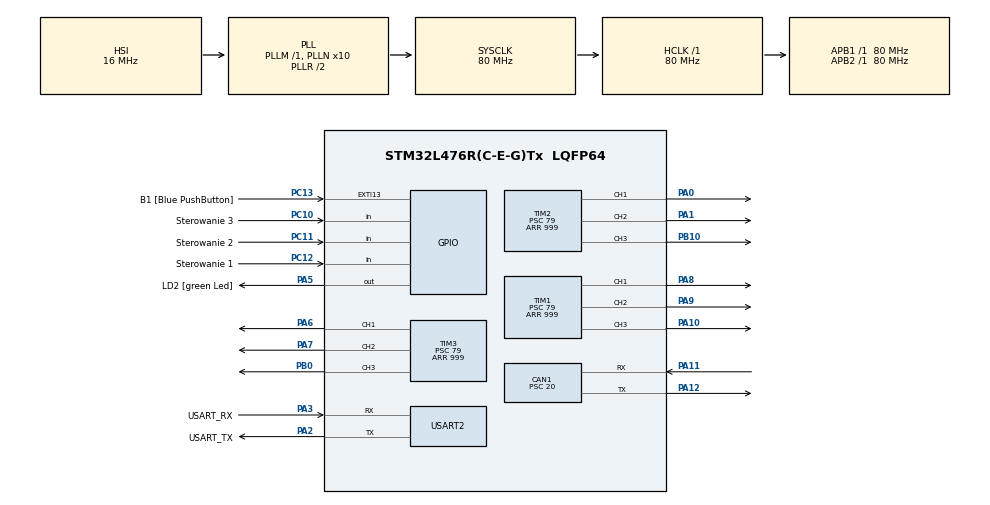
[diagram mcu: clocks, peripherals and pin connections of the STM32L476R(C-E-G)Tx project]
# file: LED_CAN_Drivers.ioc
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CAN1.BS1=CAN_BS1_13TQ
CAN1.BS2=CAN_BS2_2TQ
CAN1.CalculateTimeQuantum=250.0
CAN1.Prescaler=20
Mcu.Family=STM32L4
Mcu.Name=STM32L476R(C-E-G)Tx
Mcu.Package=LQFP64
NVIC.CAN1_RX0_IRQn=true\:0\:0\:false\:false\:true\:true\:true
NVIC.CAN1_TX_IRQn=true\:0\:0\:false\:false\:true\:true\:true
NVIC.PriorityGroup=NVIC_PRIORITYGROUP_4
PA0.Signal=S_TIM2_CH1
PA1.Signal=S_TIM2_CH2
PA10.Signal=S_TIM1_CH3
PA11.Mode=Master
PA11.Signal=CAN1_RX
PA12.Mode=Master
PA12.Signal=CAN1_TX
PA13\ (JTMS-SWDIO).GPIO_Label=TMS
PA13\ (JTMS-SWDIO).Mode=Serial_Wire
PA13\ (JTMS-SWDIO).Signal=SYS_JTMS-SWDIO
PA14\ (JTCK-SWCLK).GPIO_Label=TCK
PA14\ (JTCK-SWCLK).Mode=Serial_Wire
PA14\ (JTCK-SWCLK).Signal=SYS_JTCK-SWCLK
PA2.GPIO_Label=USART_TX
PA2.GPIO_Mode=GPIO_MODE_AF_PP
PA2.GPIO_PuPd=GPIO_NOPULL
PA2.GPIO_Speed=GPIO_SPEED_FREQ_VERY_HIGH
PA2.Mode=Asynchronous
PA2.Signal=USART2_TX
PA3.GPIO_Label=USART_RX
PA3.GPIO_Mode=GPIO_MODE_AF_PP
PA3.GPIO_PuPd=GPIO_NOPULL
PA3.GPIO_Speed=GPIO_SPEED_FREQ_VERY_HIGH
PA3.Mode=Asynchronous
PA3.Signal=USART2_RX
PA5.GPIO_Label=LD2 [green Led]
PA5.GPIO_ModeDefaultOutputPP=GPIO_MODE_OUTPUT_PP
PA5.GPIO_PuPd=GPIO_NOPULL
PA5.GPIO_Speed=GPIO_SPEED_FREQ_LOW
PA5.Signal=GPIO_Output
PA6.Signal=S_TIM3_CH1
PA7.Signal=S_TIM3_CH2
PA8.Signal=S_TIM1_CH1
PA9.Signal=S_TIM1_CH2
PB0.Signal=S_TIM3_CH3
PB10.Signal=S_TIM2_CH3
PB3\ (JTDO-TRACESWO).GPIO_Label=SWO
PB3\ (JTDO-TRACESWO).Signal=SYS_JTDO-SWO
PC10.GPIO_Label=Sterowanie 3
PC10.Signal=GPIO_Input
PC11.GPIO_Label=Sterowanie 2
PC11.Signal=GPIO_Input
PC12.GPIO_Label=Sterowanie 1
PC12.Signal=GPIO_Input
PC13.GPIO_Label=B1 [Blue PushButton]
PC13.GPIO_ModeDefaultEXTI=GPIO_MODE_IT_FALLING
PC13.GPIO_PuPd=GPIO_NOPULL
PC13.Signal=GPXTI13
PC14-OSC32_IN\ (PC14).Mode=LSE-External-Oscillator
PC14-OSC32_IN\ (PC14).Signal=RCC_OSC32_IN
PC15-OSC32_OUT\ (PC15).Mode=LSE-External-Oscillator
PC15-OSC32_OUT\ (PC15).Signal=RCC_OSC32_OUT
PH0-OSC_IN\ (PH0).Signal=RCC_OSC_IN
PH1-OSC_OUT\ (PH1).Signal=RCC_OSC_OUT
ProjectManager.HeapSize=0x200
ProjectManager.StackSize=0x400
ProjectManager.TargetToolchain=STM32CubeIDE
RCC.ADCFreq_Value=64000000
RCC.AHBFreq_Value=80000000
RCC.APB1Freq_Value=80000000
RCC.APB1TimFreq_Value=80000000
RCC.APB2Freq_Value=80000000
RCC.APB2TimFreq_Value=80000000
RCC.CortexFreq_Value=80000000
RCC.HCLKFreq_Value=80000000
RCC.HSE_VALUE=8000000
RCC.HSI_VALUE=16000000
RCC.MSI_VALUE=4000000
RCC.PLLN=10
RCC.PLLSourceVirtual=RCC_PLLSOURCE_HSI
RCC.PREFETCH_ENABLE=1
RCC.SYSCLKFreq_VALUE=80000000
RCC.SYSCLKSource=RCC_SYSCLKSOURCE_PLLCLK
RCC.USBFreq_Value=64000000
RCC.VCOOutputFreq_Value=160000000
SH.S_TIM1_CH1.0=TIM1_CH1,PWM Generation1 CH1
SH.S_TIM1_CH2.0=TIM1_CH2,PWM Generation2 CH2
SH.S_TIM1_CH3.0=TIM1_CH3,PWM Generation3 CH3
SH.S_TIM2_CH1.0=TIM2_CH1,PWM Generation1 CH1
SH.S_TIM2_CH2.0=TIM2_CH2,PWM Generation2 CH2
SH.S_TIM2_CH3.0=TIM2_CH3,PWM Generation3 CH3
SH.S_TIM3_CH1.0=TIM3_CH1,PWM Generation1 CH1
SH.S_TIM3_CH2.0=TIM3_CH2,PWM Generation2 CH2
SH.S_TIM3_CH3.0=TIM3_CH3,PWM Generation3 CH3
TIM1.AutoReloadPreload=TIM_AUTORELOAD_PRELOAD_ENABLE
TIM1.Channel-PWM\ Generation1\ CH1=TIM_CHANNEL_1
TIM1.Channel-PWM\ Generation2\ CH2=TIM_CHANNEL_2
TIM1.Channel-PWM\ Generation3\ CH3=TIM_CHANNEL_3
TIM1.Period=999
TIM1.Prescaler=79
TIM2.AutoReloadPreload=TIM_AUTORELOAD_PRELOAD_ENABLE
TIM2.Channel-PWM\ Generation1\ CH1=TIM_CHANNEL_1
TIM2.Channel-PWM\ Generation2\ CH2=TIM_CHANNEL_2
TIM2.Channel-PWM\ Generation3\ CH3=TIM_CHANNEL_3
TIM2.Period=999
TIM2.Prescaler=79
TIM3.AutoReloadPreload=TIM_AUTORELOAD_PRELOAD_ENABLE
TIM3.Channel-PWM\ Generation1\ CH1=TIM_CHANNEL_1
TIM3.Channel-PWM\ Generation2\ CH2=TIM_CHANNEL_2
TIM3.Channel-PWM\ Generation3\ CH3=TIM_CHANNEL_3
TIM3.Period=999
TIM3.Prescaler=79
USART2.VirtualMode-Asynchronous=VM_ASYNC
VP_TIM1_VS_ClockSourceINT.Mode=Internal
VP_TIM2_VS_ClockSourceINT.Mode=Internal
VP_TIM3_VS_ClockSourceINT.Mode=Internal
board=NUCLEO-L476RG

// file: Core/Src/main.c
/* USER CODE BEGIN Header */
/**
 ******************************************************************************
 * @file           : main.c
 * @brief          : Main program body
 ******************************************************************************
 * @attention
 *
 * <h2><center>&copy; Copyright (c) 2021 STMicroelectronics.
 * All rights reserved.</center></h2>
 *
 * This software component is licensed by ST under BSD 3-Clause license,
 * the "License"; You may not use this file except in compliance with the
 * License. You may obtain a copy of the License at:
 *                        opensource.org/licenses/BSD-3-Clause
 *
 ******************************************************************************
 */
/* USER CODE END Header */
#include "main.h"
#include "can.h"
#include "tim.h"
#include "usart.h"
#include "gpio.h"

/* USER CODE BEGIN Includes */
#include <string.h>
#include <stdio.h>
#include "rgb.h"
/* USER CODE END Includes */

/* USER CODE BEGIN PV */
CAN_FilterTypeDef sFilterConfig;
CAN_TxHeaderTypeDef TxHeader;
CAN_RxHeaderTypeDef RxHeader;
uint8_t TxData[8];
uint8_t RxData[8];
uint32_t TxMailbox;
/* USER CODE END PV */

void SystemClock_Config(void);

int main(void)
{

  /* MCU Configuration--------------------------------------------------------*/

  /* Reset of all peripherals, Initializes the Flash interface and the Systick. */
  HAL_Init();

  /* Configure the system clock */
  SystemClock_Config();

  /* Initialize all configured peripherals */
  MX_GPIO_Init();
  MX_USART2_UART_Init();
  MX_CAN1_Init();
  MX_TIM1_Init();
  MX_TIM2_Init();
  MX_TIM3_Init();
  /* USER CODE BEGIN 2 */
	sFilterConfig.FilterBank = 0;
	sFilterConfig.FilterMode = CAN_FILTERMODE_IDMASK;
	sFilterConfig.FilterScale = CAN_FILTERSCALE_32BIT;
	sFilterConfig.FilterIdHigh = 0x0000;
	sFilterConfig.FilterIdLow = 0x0000;
	sFilterConfig.FilterMaskIdHigh = 0x0000;
	sFilterConfig.FilterMaskIdLow = 0x0000;
	sFilterConfig.FilterFIFOAssignment = CAN_RX_FIFO0;
	sFilterConfig.FilterActivation = ENABLE;
	sFilterConfig.SlaveStartFilterBank = 14;
	if (HAL_CAN_ConfigFilter(&hcan1, &sFilterConfig) != HAL_OK) {
		/* Filter configuration Error */
		Error_Handler();
	}
	if (HAL_CAN_Start(&hcan1) != HAL_OK) {/* Start Error */
		Error_Handler();
	}
	if (HAL_CAN_ActivateNotification(&hcan1,
	CAN_IT_RX_FIFO0_MSG_PENDING | CAN_IT_TX_MAILBOX_EMPTY) != HAL_OK) {/* Notification Error */
		Error_Handler();
	}

	TxHeader.StdId = 0x321;
	TxHeader.ExtId = 0x01;
	TxHeader.RTR = CAN_RTR_DATA;
	TxHeader.IDE = CAN_ID_STD;
	TxHeader.DLC = 8;
	TxHeader.TransmitGlobalTime = DISABLE;
	TxData[0] = 1;
	TxData[1] = 2;
	TxData[2] = 3;
	TxData[3] = 4;
	TxData[4] = 5;
	TxData[5] = 6;
	TxData[6] = 7;
	TxData[7] = 8;

	uint32_t address = 300;
  /* USER CODE END 2 */

  /* Infinite loop */
  /* USER CODE BEGIN WHILE */
	while (1) {
		if (RxHeader.StdId == address) {
			switch (RxData[0]) {
			case 1:
				//SetColorAll(RxData[1],RxData[2],RxData[3]);

				break;
			case 2:
				//Fade
			default:
				break;
			}

		}

    /* USER CODE END WHILE */

    /* USER CODE BEGIN 3 */
		HAL_CAN_AddTxMessage(&hcan1, &TxHeader, TxData, &TxMailbox);
		HAL_Delay(500);
		TxData[7] = TxData[7] + 1;
	}

  /* USER CODE END 3 */
}

void SystemClock_Config(void)
{
  RCC_OscInitTypeDef RCC_OscInitStruct = {0};
  RCC_ClkInitTypeDef RCC_ClkInitStruct = {0};
  RCC_PeriphCLKInitTypeDef PeriphClkInit = {0};

  /** Initializes the RCC Oscillators according to the specified parameters
  * in the RCC_OscInitTypeDef structure.
  */
  RCC_OscInitStruct.OscillatorType = RCC_OSCILLATORTYPE_HSI;
  RCC_OscInitStruct.HSIState = RCC_HSI_ON;
  RCC_OscInitStruct.HSICalibrationValue = RCC_HSICALIBRATION_DEFAULT;
  RCC_OscInitStruct.PLL.PLLState = RCC_PLL_ON;
  RCC_OscInitStruct.PLL.PLLSource = RCC_PLLSOURCE_HSI;
  RCC_OscInitStruct.PLL.PLLM = 1;
  RCC_OscInitStruct.PLL.PLLN = 10;
  RCC_OscInitStruct.PLL.PLLP = RCC_PLLP_DIV7;
  RCC_OscInitStruct.PLL.PLLQ = RCC_PLLQ_DIV2;
  RCC_OscInitStruct.PLL.PLLR = RCC_PLLR_DIV2;
  if (HAL_RCC_OscConfig(&RCC_OscInitStruct) != HAL_OK)
  {
    Error_Handler();
  }
  /** Initializes the CPU, AHB and APB buses clocks
  */
  RCC_ClkInitStruct.ClockType = RCC_CLOCKTYPE_HCLK|RCC_CLOCKTYPE_SYSCLK
                              |RCC_CLOCKTYPE_PCLK1|RCC_CLOCKTYPE_PCLK2;
  RCC_ClkInitStruct.SYSCLKSource = RCC_SYSCLKSOURCE_PLLCLK;
  RCC_ClkInitStruct.AHBCLKDivider = RCC_SYSCLK_DIV1;
  RCC_ClkInitStruct.APB1CLKDivider = RCC_HCLK_DIV1;
  RCC_ClkInitStruct.APB2CLKDivider = RCC_HCLK_DIV1;

  if (HAL_RCC_ClockConfig(&RCC_ClkInitStruct, FLASH_LATENCY_4) != HAL_OK)
  {
    Error_Handler();
  }
  PeriphClkInit.PeriphClockSelection = RCC_PERIPHCLK_USART2;
  PeriphClkInit.Usart2ClockSelection = RCC_USART2CLKSOURCE_PCLK1;
  if (HAL_RCCEx_PeriphCLKConfig(&PeriphClkInit) != HAL_OK)
  {
    Error_Handler();
  }
  /** Configure the main internal regulator output voltage
  */
  if (HAL_PWREx_ControlVoltageScaling(PWR_REGULATOR_VOLTAGE_SCALE1) != HAL_OK)
  {
    Error_Handler();
  }
}

/* USER CODE BEGIN 4 */
void HAL_CAN_TxMailbox0CompleteCallback(CAN_HandleTypeDef *hcan) {
	HAL_GPIO_TogglePin(GPIOB, GPIO_PIN_2);

}
void HAL_CAN_RxFifo0MsgPendingCallback(CAN_HandleTypeDef *hcan) {
	HAL_CAN_GetRxMessage(&hcan1, CAN_RX_FIFO0, &RxHeader, RxData);
	HAL_GPIO_TogglePin(GPIOB, GPIO_PIN_2);
	//RxHeader.DLC!!!!!!!!!!!!!!!!!!!!!!!!!!!!!!!!!!!!!!!!!!!!!!!!!!!!!!!!!!!!!!!!!!!!!!!!!!!!!!!!!!!!!!!!!!!!!!!!!!!!!!!!!!!!!!!!!!!!!!!!!!!!!!!!!!!!!!!!!!!!!!
}
/* USER CODE END 4 */

void Error_Handler(void)
{
}

/************************ (C) COPYRIGHT STMicroelectronics *****END OF FILE****/
